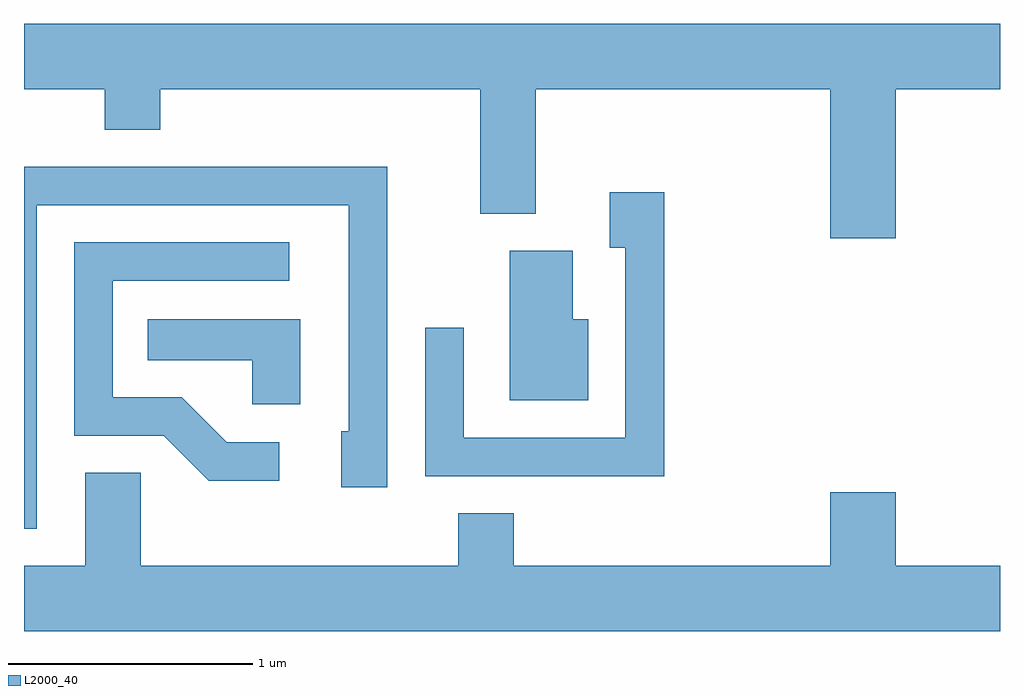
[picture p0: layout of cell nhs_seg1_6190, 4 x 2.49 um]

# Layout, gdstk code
import gdstk
lib = gdstk.Library(unit=1e-6, precision=1e-09)
def P(c, l, *ps):  # polygons
    for p in ps: c.add(gdstk.Polygon(p, *l))
L2000_40 = (2000, 40)

nhs_seg1_6190 = lib.new_cell('nhs_seg1_6190')
P(nhs_seg1_6190, L2000_40, [(375.184,910.676),(375.611,910.676),(375.611,910.944),(371.611,910.944),(371.611,910.676),(371.941,910.676),(371.941,910.511),(372.169,910.511),(372.169,910.676),(373.481,910.676),(373.481,910.166),(373.709,910.166),(373.709,910.676),(374.916,910.676),(374.916,910.066),(375.184,910.066)],
  [(371.664,910.201),(372.941,910.201),(372.941,909.274),(372.911,909.274),(372.911,909.046),(373.099,909.046),(373.099,910.359),(371.611,910.359),(371.611,908.876),(371.664,908.876)],
  [(374.234,910.254),(374.011,910.254),(374.011,910.026),(374.076,910.026),(374.076,909.249),(373.414,909.249),(373.414,909.698),(373.256,909.698),(373.256,909.091),(374.234,909.091)],
  [(372.658,909.229),(372.442,909.229),(372.257,909.414),(371.974,909.414),(371.974,909.891),(372.698,909.891),(372.698,910.049),(371.816,910.049),(371.816,909.256),(372.184,909.256),(372.369,909.071),(372.658,909.071)],
  [(373.924,909.734),(373.859,909.734),(373.859,910.014),(373.601,910.014),(373.601,909.401),(373.924,909.401)],
  [(372.744,909.734),(372.118,909.734),(372.118,909.566),(372.546,909.566),(372.546,909.386),(372.744,909.386)],
  [(375.611,908.724),(375.184,908.724),(375.184,909.024),(374.916,909.024),(374.916,908.724),(373.619,908.724),(373.619,908.939),(373.391,908.939),(373.391,908.724),(372.089,908.724),(372.089,909.104),(371.861,909.104),(371.861,908.724),(371.611,908.724),(371.611,908.456),(375.611,908.456)])

lib.write_gds('nhs_seg1_6190.gds')
